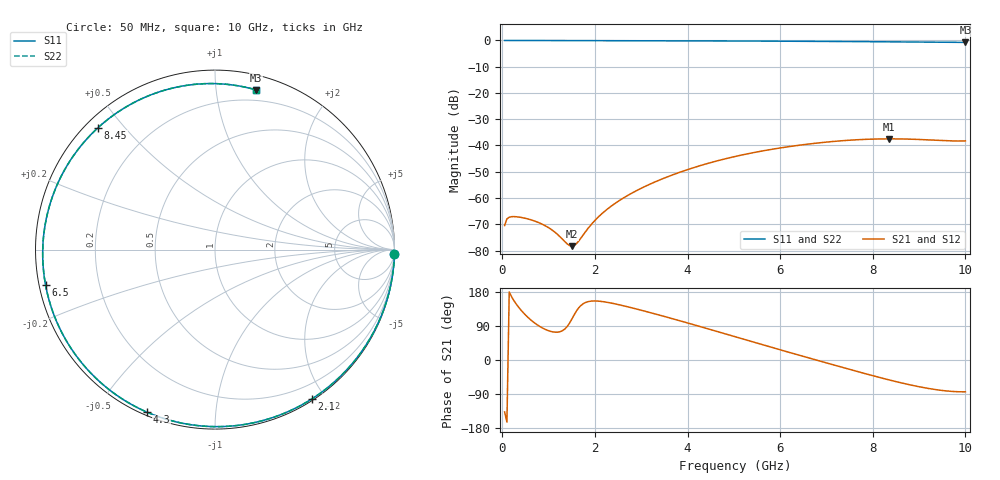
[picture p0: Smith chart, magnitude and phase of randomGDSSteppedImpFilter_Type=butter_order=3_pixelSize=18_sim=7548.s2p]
! freq	dB(S11)	phase(S11)	dB(S12)	phase(S12)
!  dB(S21)	phase(S21)	dB(S22)	phase(S22)
!S-par simulation data
#  GHz  S  DB  R 50
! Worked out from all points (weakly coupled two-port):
!   200 points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, 50 MHz to 10 GHz, reference 50 ohm
!   highest |S21| = -37.47 dB at 8.35 GHz (marker M1); lowest = -78.3 dB at 1.5 GHz (marker M2)
!   lowest |S11| = -0.7 dB at 10 GHz (marker M3), VSWR 23.58, Z = 5.64 + j64.3 ohm
!   |S11| at or under -10 dB: nowhere
!   |S22| runs from -0.7 to 0.0 dB; largest |S21 - S12| = 0
!   S11 on the Smith chart (normalised r, x): 50 MHz: 0, -82; 2.1 GHz: 0.02, -1.84; 4.3 GHz: 0.01, -0.66; 6.5 GHz: 0.02, -0.10; 8.45 GHz: 0.04, +0.43; 10 GHz: 0.11, +1.29
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0.05  -0.00 -1.4  -70.48 -137.2  -70.48 -137.2  -0.00 -1.4
0.1  -0.00 -2.8  -67.95 -163.9  -67.95 -163.9  -0.00 -2.8
0.15  -0.00 -4.2  -67.31 179.5  -67.31 179.5  -0.00 -4.2
0.6  -0.02 -16.7  -68.21 107.4  -68.21 107.4  -0.02 -16.7
1  -0.03 -27.6  -71.31 77.2  -71.31 77.2  -0.03 -27.6
1.5  -0.05 -41.2  -78.35 107.5  -78.35 107.5  -0.05 -41.2
1.6  -0.06 -43.8  -77.42 129.1  -77.42 129.1  -0.06 -43.8
1.75  -0.06 -47.8  -73.96 148.7  -73.96 148.7  -0.06 -47.8
2.1  -0.07 -57.1  -66.78 155.1  -66.78 155.1  -0.07 -57.1
2.65  -0.09 -71.4  -59.63 142.1  -59.63 142.1  -0.09 -71.4
3.4  -0.12 -90.4  -53.11 118.3  -53.11 118.3  -0.12 -90.4
4.3  -0.16 -112.8  -47.53 87.3  -47.53 87.3  -0.16 -112.7
5.05  -0.20 -131.2  -44.10 60.5  -44.10 60.5  -0.20 -131.2
5.8  -0.25 -150.0  -41.51 33.9  -41.51 33.9  -0.25 -150.0
6.5  -0.31 -168.2  -39.70 9.5  -39.70 9.5  -0.31 -168.2
6.7  -0.33 -173.5  -39.27 2.6  -39.27 2.6  -0.33 -173.5
7.55  -0.42 162.4  -37.93 -26.4  -37.93 -26.4  -0.42 162.4
8.35  -0.51 137.2  -37.47 -52.5  -37.47 -52.5  -0.51 137.2
8.45  -0.53 133.9  -37.47 -55.5  -37.47 -55.5  -0.53 133.9
9.3  -0.63 103.4  -37.94 -77.1  -37.94 -77.1  -0.63 103.4
9.65  -0.68 89.7  -38.22 -82.3  -38.22 -82.3  -0.68 89.7
10  -0.74 75.5  -38.24 -83.9  -38.24 -83.9  -0.74 75.4
